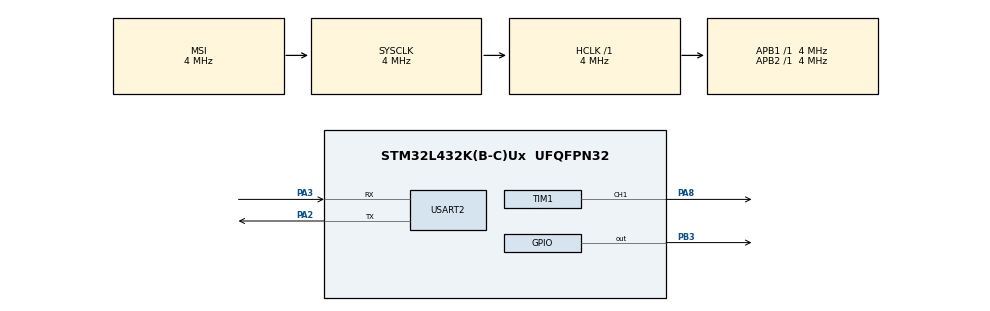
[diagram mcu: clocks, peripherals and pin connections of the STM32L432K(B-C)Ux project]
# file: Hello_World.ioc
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Dma.Request0=TIM1_CH1
Dma.TIM1_CH1.0.Direction=DMA_MEMORY_TO_PERIPH
Dma.TIM1_CH1.0.Instance=DMA1_Channel2
Dma.TIM1_CH1.0.MemDataAlignment=DMA_MDATAALIGN_HALFWORD
Dma.TIM1_CH1.0.MemInc=DMA_MINC_ENABLE
Dma.TIM1_CH1.0.Mode=DMA_NORMAL
Dma.TIM1_CH1.0.PeriphDataAlignment=DMA_PDATAALIGN_HALFWORD
Dma.TIM1_CH1.0.PeriphInc=DMA_PINC_DISABLE
Dma.TIM1_CH1.0.Priority=DMA_PRIORITY_LOW
Mcu.Family=STM32L4
Mcu.Name=STM32L432K(B-C)Ux
Mcu.Package=UFQFPN32
NVIC.DMA1_Channel2_IRQn=true\:0\:0\:false\:false\:true\:false\:true\:true
NVIC.PriorityGroup=NVIC_PRIORITYGROUP_4
PA2.Mode=Asynchronous
PA2.Signal=USART2_TX
PA3.Mode=Asynchronous
PA3.Signal=USART2_RX
PA8.Signal=S_TIM1_CH1
PB3\ (JTDO-TRACESWO).Signal=GPIO_Output
ProjectManager.HeapSize=0x200
ProjectManager.StackSize=0x400
ProjectManager.TargetToolchain=STM32CubeIDE
RCC.ADCFreq_Value=16000000
RCC.AHBFreq_Value=4000000
RCC.APB1Freq_Value=4000000
RCC.APB1TimFreq_Value=4000000
RCC.APB2Freq_Value=4000000
RCC.APB2TimFreq_Value=4000000
RCC.CortexFreq_Value=4000000
RCC.HCLKFreq_Value=4000000
RCC.HSE_VALUE=8000000
RCC.HSI48_VALUE=48000000
RCC.HSI_VALUE=16000000
RCC.LSE_VALUE=32768
RCC.MSI_VALUE=4000000
RCC.SYSCLKFreq_VALUE=4000000
RCC.USBFreq_Value=16000000
RCC.VCOOutputFreq_Value=32000000
SH.S_TIM1_CH1.0=TIM1_CH1,PWM Generation1 CH1
TIM1.Channel-PWM\ Generation1\ CH1=TIM_CHANNEL_1
TIM1.Period=20000-1
TIM1.Prescaler=4-1
USART2.VirtualMode-Asynchronous=VM_ASYNC
VP_TIM1_VS_ClockSourceINT.Mode=Internal
board=custom

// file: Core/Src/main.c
/* USER CODE BEGIN Header */
/**
  ******************************************************************************
  * @file           : main.c
  * @brief          : Main program body
  ******************************************************************************
  * @attention
  *
  * Copyright (c) 2026 STMicroelectronics.
  * All rights reserved.
  *
  * This software is licensed under terms that can be found in the LICENSE file
  * in the root directory of this software component.
  * If no LICENSE file comes with this software, it is provided AS-IS.
  *
  ******************************************************************************
  */
/* USER CODE END Header */
#include "main.h"
#include "dma.h"
#include "tim.h"
#include "usart.h"
#include "gpio.h"

/* USER CODE BEGIN Includes */
#include "testFile.h"
#include "stdio.h"
#include <string.h>
/* USER CODE END Includes */

void SystemClock_Config(void);
/* USER CODE BEGIN PFP */
//This is to include the functionality of printf and scanf from stdio.h library
#ifdef __GNUC__
#define PUTCHAR_PROTOTYPE int __io_putchar(int ch)
#define GETCHAR_PROTOTYPE int __io_getchar(void)
#else
#define PUTCHAR_PROTOTYPE int fputc(int ch, FILE *f)
#define GETCHAR_PROTOTYPE int fgetc(FILE *f)
#endif
/* USER CODE END PFP */

int main(void)
{

  /* MCU Configuration--------------------------------------------------------*/

  /* Reset of all peripherals, Initializes the Flash interface and the Systick. */
  HAL_Init();

  /* Configure the system clock */
  SystemClock_Config();

  /* Initialize all configured peripherals */
  MX_GPIO_Init();
  MX_DMA_Init();
  MX_USART2_UART_Init();
  MX_TIM1_Init();

  /* Infinite loop */
  /* USER CODE BEGIN WHILE */
  while (1)
  {
	 display_menu();
	 HAL_GPIO_TogglePin(GPIOB, GPIO_PIN_3);
	 HAL_Delay(1000);
    /* USER CODE END WHILE */

  }
}

void SystemClock_Config(void)
{
  RCC_OscInitTypeDef RCC_OscInitStruct = {0};
  RCC_ClkInitTypeDef RCC_ClkInitStruct = {0};

  /** Configure the main internal regulator output voltage
  */
  if (HAL_PWREx_ControlVoltageScaling(PWR_REGULATOR_VOLTAGE_SCALE1) != HAL_OK)
  {
    Error_Handler();
  }

  /** Initializes the RCC Oscillators according to the specified parameters
  * in the RCC_OscInitTypeDef structure.
  */
  RCC_OscInitStruct.OscillatorType = RCC_OSCILLATORTYPE_MSI;
  RCC_OscInitStruct.MSIState = RCC_MSI_ON;
  RCC_OscInitStruct.MSICalibrationValue = 0;
  RCC_OscInitStruct.MSIClockRange = RCC_MSIRANGE_6;
  RCC_OscInitStruct.PLL.PLLState = RCC_PLL_NONE;
  if (HAL_RCC_OscConfig(&RCC_OscInitStruct) != HAL_OK)
  {
    Error_Handler();
  }

  /** Initializes the CPU, AHB and APB buses clocks
  */
  RCC_ClkInitStruct.ClockType = RCC_CLOCKTYPE_HCLK|RCC_CLOCKTYPE_SYSCLK
                              |RCC_CLOCKTYPE_PCLK1|RCC_CLOCKTYPE_PCLK2;
  RCC_ClkInitStruct.SYSCLKSource = RCC_SYSCLKSOURCE_MSI;
  RCC_ClkInitStruct.AHBCLKDivider = RCC_SYSCLK_DIV1;
  RCC_ClkInitStruct.APB1CLKDivider = RCC_HCLK_DIV1;
  RCC_ClkInitStruct.APB2CLKDivider = RCC_HCLK_DIV1;

  if (HAL_RCC_ClockConfig(&RCC_ClkInitStruct, FLASH_LATENCY_0) != HAL_OK)
  {
    Error_Handler();
  }
}

/* USER CODE BEGIN 4 */
PUTCHAR_PROTOTYPE
{
  HAL_UART_Transmit(&huart2, (uint8_t *)&ch, 1, HAL_MAX_DELAY);
  return ch;
}

GETCHAR_PROTOTYPE
{
  uint8_t ch = 0;

  /* Clear the Overrun flag just before receiving the first character */
  __HAL_UART_CLEAR_OREFLAG(&huart2);

  /* Wait for reception of a character on the USART RX line and echo this
   * character on console */
  HAL_UART_Receive(&huart2, &ch, 1, HAL_MAX_DELAY);
  HAL_UART_Transmit(&huart2, &ch, 1, HAL_MAX_DELAY);
  return ch;
}
/* USER CODE END 4 */

void Error_Handler(void)
{
  __disable_irq();
  while (1)
  {
  }
}
